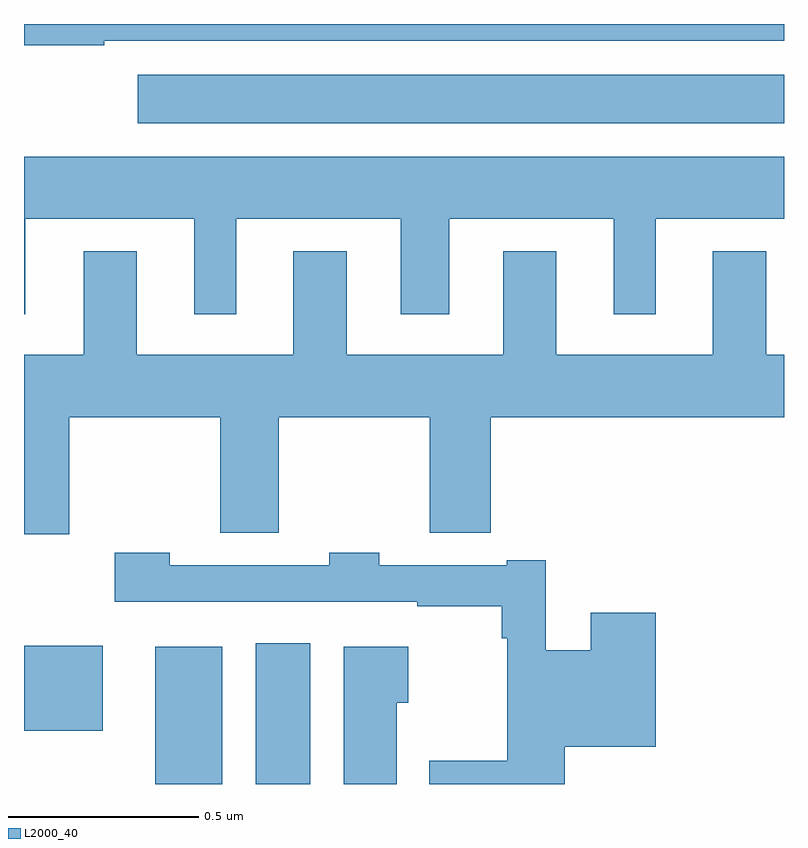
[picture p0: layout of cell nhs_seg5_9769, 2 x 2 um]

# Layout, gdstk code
import gdstk
lib = gdstk.Library(unit=1e-6, precision=1e-09)
def R(c, l, rs):  # rectangles x0, y0, x1, y1
    for r in rs: c.add(gdstk.rectangle(r[:2], r[2:], *l))
def P(c, l, *ps):  # polygons
    for p in ps: c.add(gdstk.Polygon(p, *l))
L2000_40 = (2000, 40)

nhs_seg5_9769 = lib.new_cell('nhs_seg5_9769')
R(nhs_seg5_9769, L2000_40, [(238.346,851.799,238.522,852.16), (238.61,851.799,238.753,852.169), (238,851.939,238.207,852.163), (238.299,853.538,240,853.666)])
P(nhs_seg5_9769, L2000_40, [(238.211,853.755),(240,853.755),(240,853.799),(238,853.799),(238,853.743),(238.211,853.743)],
  [(238.003,853.286),(238.448,853.286),(238.448,853.035),(238.558,853.035),(238.558,853.286),(238.991,853.286),(238.991,853.035),(239.119,853.035),(239.119,853.286),(239.552,853.286),(239.552,853.035),(239.662,853.035),(239.662,853.286),(240,853.286),(240,853.45),(238,853.45),(238,853.035),(238.003,853.035)],
  [(238.119,852.764),(238.516,852.764),(238.516,852.46),(238.67,852.46),(238.67,852.764),(239.068,852.764),(239.068,852.46),(239.228,852.46),(239.228,852.764),(240,852.764),(240,852.928),(239.953,852.928),(239.953,853.201),(239.813,853.201),(239.813,852.928),(239.401,852.928),(239.401,853.201),(239.261,853.201),(239.261,852.928),(238.849,852.928),(238.849,853.201),(238.709,853.201),(238.709,852.928),(238.297,852.928),(238.297,853.201),(238.157,853.201),(238.157,852.928),(238,852.928),(238,852.456),(238.119,852.456)],
  [(239.423,851.897),(239.663,851.897),(239.663,852.25),(239.492,852.25),(239.492,852.151),(239.373,852.151),(239.373,852.388),(239.27,852.388),(239.27,852.375),(238.935,852.375),(238.935,852.408),(238.803,852.408),(238.803,852.375),(238.383,852.375),(238.383,852.408),(238.239,852.408),(238.239,852.279),(239.035,852.279),(239.035,852.267),(239.257,852.267),(239.257,852.182),(239.272,852.182),(239.272,851.86),(239.067,851.86),(239.067,851.799),(239.423,851.799)],
  [(238.981,852.013),(239.011,852.013),(239.011,852.16),(238.841,852.16),(238.841,851.799),(238.981,851.799)])

lib.write_gds('nhs_seg5_9769.gds')
